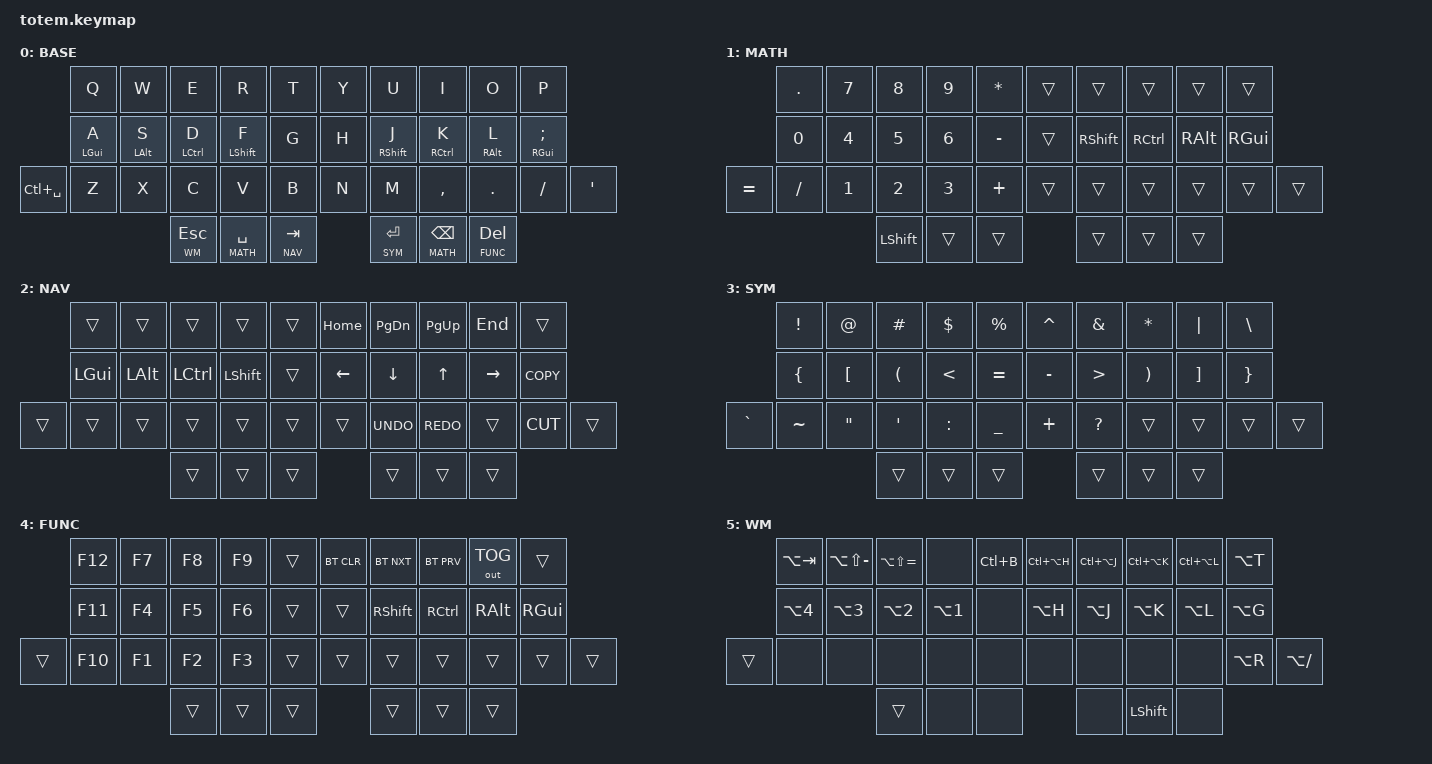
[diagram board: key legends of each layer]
//
//                                                        ▀▀▀▀▀     ▀▀▀▀▀          ▀▀█▀▀
//                                                        ▄▀▀▀▄  ▄  ▄▀▀▀▄  ▄  ▄▀▀▀▄  █  ▄▀▀▀▄
//                                                        █   █  █  █   █  █  █   █  █  █   █
//                                                         ▀▀▀   █   ▀▀▀   █   ▀▀▀   ▀   ▀▀▀
//                                                               █      ▄▄▄█▄▄▄    █   █
//                                                               ▀      █  █  █     █▄█
//                                                             ▀▀▀▀▀    █  █  █      ▀
//                                                                      ▀  ▀  ▀
//
// ▄▄▄▄▄▄▄▄▄▄▄▄▄▄▄▄▄▄▄▄▄▄▄▄▄▄▄▄▄▄▄▄▄▄▄▄▄▄▄▄▄▄▄▄▄▄▄▄▄▄▄▄▄▄▄▄▄▄▄▄▄▄▄▄▄▄▄▄▄▄▄▄▄▄▄▄▄▄▄▄▄▄▄▄▄▄▄▄▄▄▄▄▄▄▄▄▄▄▄▄▄▄▄▄▄▄▄▄▄▄▄▄▄▄▄▄▄▄▄▄▄▄▄▄▄▄▄▄▄▄▄▄▄▄▄▄▄▄▄▄▄▄▄▄▄▄▄▄▄

#define BASE 0
#define MATH 1
#define NAV  2
#define SYM  3
#define FUNC 4
#define WM   5

#include <behaviors.dtsi>
#include <dt-bindings/zmk/bt.h>
#include <dt-bindings/zmk/keys.h>
#include <dt-bindings/zmk/outputs.h>

/*  key positions
 *   0  1  2  3  4      5  6  7  8  9
 *  10 11 12 13 14     15 16 17 18 19
 *  20 21 22 23 24 25  26 27 28 29 30 31
 *           32 33 34  35 36 37
 */

/ {
    combos {
        compatible = "zmk,combos";

        combo_esc {
            timeout-ms = <50>;
            key-positions = <0 1>;
            layers = <BASE>;
            bindings = <&kp ESC>;
        };

        // Russian layout: х = [ and ъ = ], which are not on the base layer
        combo_lbkt {
            timeout-ms = <50>;
            key-positions = <9 19>;
            layers = <BASE>;
            bindings = <&kp LBKT>;
        };

        combo_rbkt {
            timeout-ms = <50>;
            key-positions = <19 30>;
            layers = <BASE>;
            bindings = <&kp RBKT>;
        };
    };

    behaviors {
        // home row mods, left hand: hold only works with right hand keys and thumbs
        hml: hml {
            compatible = "zmk,behavior-hold-tap";
            label = "HOME_ROW_MOD_LEFT";
            #binding-cells = <2>;
            flavor = "balanced";
            tapping-term-ms = <250>;
            quick-tap-ms = <175>;
            require-prior-idle-ms = <150>;
            hold-trigger-on-release;
            hold-trigger-key-positions = <5 6 7 8 9 15 16 17 18 19 26 27 28 29 30 31 32 33 34 35 36 37>;
            bindings = <&kp>, <&kp>;
        };

        // home row mods, right hand: hold only works with left hand keys and thumbs
        hmr: hmr {
            compatible = "zmk,behavior-hold-tap";
            label = "HOME_ROW_MOD_RIGHT";
            #binding-cells = <2>;
            flavor = "balanced";
            tapping-term-ms = <250>;
            quick-tap-ms = <175>;
            require-prior-idle-ms = <150>;
            hold-trigger-on-release;
            hold-trigger-key-positions = <0 1 2 3 4 10 11 12 13 14 20 21 22 23 24 25 32 33 34 35 36 37>;
            bindings = <&kp>, <&kp>;
        };

        // layer-tap that switches the layer fast enough for WM chords (WM + letter)
        lt_wm: lt_wm {
            compatible = "zmk,behavior-hold-tap";
            label = "LAYER_TAP_WM";
            #binding-cells = <2>;
            flavor = "balanced";
            tapping-term-ms = <150>;
            retro-tap;
            bindings = <&mo>, <&kp>;
        };
    };

    keymap {
        compatible = "zmk,keymap";

        base {
            label = "BASE";
            bindings = <
                  &kp Q         &kp W         &kp E          &kp R          &kp T        &kp Y        &kp U           &kp I          &kp O         &kp P
                  &hml LGUI A   &hml LALT S   &hml LCTRL D   &hml LSHFT F   &kp G        &kp H        &hmr RSHFT J    &hmr RCTRL K   &hmr RALT L   &hmr RGUI SEMICOLON
&kp LC(SPACE)     &kp Z         &kp X         &kp C          &kp V          &kp B        &kp N        &kp M           &kp COMMA      &kp DOT       &kp FSLH            &kp SQT
                                              &lt_wm WM ESCAPE  &lt MATH SPACE  &lt NAV TAB  &lt SYM ENTER  &lt MATH BACKSPACE  &lt FUNC DELETE
            >;
        };

        math {
            label = "MATH";
            bindings = <
           &kp DOT    &kp N7        &kp N8          &kp N9        &kp ASTERISK    &trans  &trans           &trans     &trans         &trans
           &kp N0     &kp NUMBER_4  &kp N5          &kp N6        &kp MINUS       &trans  &kp RIGHT_SHIFT  &kp RCTRL  &kp RIGHT_ALT  &kp RIGHT_GUI
&kp EQUAL  &kp SLASH  &kp NUMBER_1  &kp NUMBER_2    &kp NUMBER_3  &kp PLUS        &trans  &trans           &trans     &trans         &trans         &trans
                                    &kp LEFT_SHIFT  &trans        &trans          &trans  &trans           &trans
            >;
        };

        nav {
            label = "NAV";
            bindings = <
        &trans    &trans    &trans     &trans          &trans    &kp HOME  &kp PAGE_DOWN  &kp PG_UP   &kp END    &trans
        &kp LGUI  &kp LALT  &kp LCTRL  &kp LEFT_SHIFT  &trans    &kp LEFT  &kp DOWN       &kp UP      &kp RIGHT  &kp K_COPY
&trans  &trans    &trans    &trans     &trans          &trans    &trans    &kp K_UNDO     &kp K_REDO  &trans     &kp K_CUT   &trans
                            &trans     &trans          &trans    &trans    &trans         &trans
            >;
        };

        sym {
            label = "SYM";
            bindings = <
          &kp EXCL   &kp AT     &kp HASH   &kp DLLR   &kp PRCNT    &kp CARET  &kp AMPS   &kp STAR   &kp PIPE   &kp BSLH
          &kp LBRC   &kp LBKT   &kp LPAR   &kp LT     &kp EQUAL    &kp MINUS  &kp GT     &kp RPAR   &kp RBKT   &kp RBRC
&kp GRAVE &kp TILDE  &kp DQT    &kp SQT    &kp COLON  &kp UNDER    &kp PLUS   &kp QMARK  &trans     &trans     &trans     &trans
                                           &trans     &trans       &trans     &trans     &trans     &trans
            >;
        };

        func {
            label = "FUNC";
            bindings = <
        &kp F12  &kp F7  &kp F8  &kp F9  &trans    &bt BT_CLR  &bt BT_NXT  &bt BT_PRV  &out OUT_TOG  &trans
        &kp F11  &kp F4  &kp F5  &kp F6  &trans    &trans      &kp RSHIFT  &kp RCTRL   &kp RALT      &kp RGUI
&trans  &kp F10  &kp F1  &kp F2  &kp F3  &trans    &trans      &trans      &trans      &trans        &trans    &trans
                         &trans  &trans  &trans    &trans      &trans      &trans
            >;
        };

        // window management: AeroSpace + herdr
        // top right YUIO = AeroSpace focus, home HJKL = herdr panes, home ASDFG = workspaces 1-5
        // right middle thumb = Shift: turns focus into move (window / workspace)
        wm {
            label = "WM";
            bindings = <
         &kp LA(TAB)  &kp LA(LS(MINUS))  &kp LA(LS(EQUAL))  &none        &kp LC(B)     &kp LC(LA(H))  &kp LC(LA(J))  &kp LC(LA(K))  &kp LC(LA(L))  &kp LA(T)
         &kp LA(N4)   &kp LA(N3)         &kp LA(N2)         &kp LA(N1)   &none         &kp LA(H)     &kp LA(J)      &kp LA(K)      &kp LA(L)      &kp LA(G)
&trans   &none        &none              &none              &none        &none         &none          &none          &none          &none          &kp LA(R)      &kp LA(SLASH)
                                                            &trans       &none         &none          &none          &kp LSHIFT     &none
            >;
        };
    };
};
